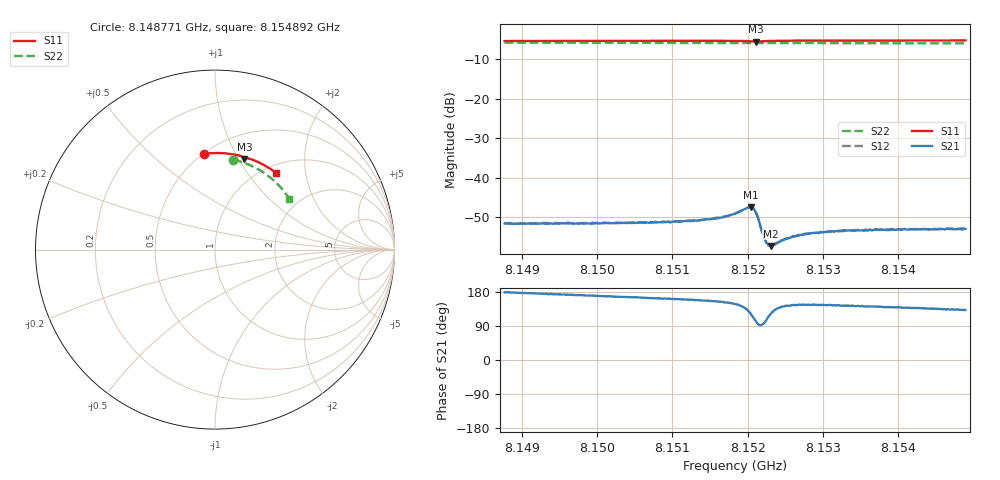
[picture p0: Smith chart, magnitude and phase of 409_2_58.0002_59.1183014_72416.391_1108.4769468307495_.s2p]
#  HZ  S  RI  R  50.00
! Rohde & Schwarz Vector Network Analyzer
! Rohde-Schwarz,ZNB20-2Port,1311601062101988,3.16
! Created: UTC 3/21/2024, 1:08:40 AM
! freq[Hz]  re:S11  im:S11  re:S21  im:S21  re:S12  im:S12  re:S22  im:S22
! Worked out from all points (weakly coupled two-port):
!   401 points, 8.148771 GHz to 8.154892 GHz, reference 50 ohm
!   highest |S21| = -47.45 dB at 8.152046 GHz (marker M1); lowest = -57.3 dB at 8.152306 GHz (marker M2)
!   lowest |S11| = -5.5 dB at 8.152107 GHz (marker M3), VSWR 3.24, Z = 37.9 + j52.8 ohm
!   |S11| at or under -10 dB: nowhere
!   |S22| runs from -6.0 to -5.8 dB; largest |S21 - S12| = 0.00012
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8.1487708e9  -0.0595 0.5332  -0.00263 7.15e-05  -0.00266 0.000109  0.1029 0.5009
8.1497961e9  0.0116 0.5383  -0.00261 0.000435  -0.0026 0.000479  0.1665 0.4822
8.1508215e9  0.083 0.5335  -0.00261 0.000811  -0.00263 0.000857  0.2266 0.4553
8.1513418e9  0.1193 0.5274  -0.00267 0.0011  -0.00265 0.00113  0.2556 0.4388
8.1515255e9  0.1322 0.5243  -0.00273 0.00125  -0.00273 0.0013  0.2654 0.4326
8.1516785e9  0.1432 0.5212  -0.00282 0.00147  -0.00284 0.00153  0.2736 0.4272
8.1518316e9  0.1545 0.5171  -0.00295 0.00185  -0.00296 0.00193  0.2817 0.4215
8.1519846e9  0.1653 0.5093  -0.00285 0.00294  -0.00282 0.00302  0.2895 0.4157
8.1520458e9  0.1668 0.5043  -0.00215 0.00366  -0.0021 0.0037  0.2925 0.4132
8.1520764e9  0.1659 0.5025  -0.0015 0.00378  -0.00146 0.00383  0.2939 0.412
8.152107e9  0.1643 0.5021  -0.000774 0.00357  -0.000759 0.00362  0.2954 0.411
8.1521376e9  0.1635 0.5035  -0.000274 0.00305  -0.000243 0.00311  0.2968 0.4098
8.1521989e9  0.1659 0.5073  -0.000154 0.00196  -8.04e-05 0.00199  0.2999 0.4078
8.1522295e9  0.1683 0.5086  -0.000283 0.00162  -0.000255 0.00163  0.3015 0.4067
8.1522754e9  0.1722 0.5093  -0.000569 0.00127  -0.000565 0.0013  0.3038 0.4049
8.152306e9  0.1749 0.5094  -0.000715 0.00116  -0.000675 0.00118  0.3053 0.4037
8.1523366e9  0.1775 0.5093  -0.000858 0.00109  -0.000857 0.00113  0.3069 0.4025
8.1525662e9  0.1951 0.5053  -0.0014 0.00105  -0.0014 0.00104  0.3182 0.3933
8.1528569e9  0.215 0.4982  -0.00165 0.00113  -0.00165 0.00115  0.3321 0.3809
8.1533314e9  0.2458 0.4849  -0.00173 0.00127  -0.00171 0.00129  0.3537 0.36
8.1538823e9  0.2796 0.4672  -0.00165 0.00142  -0.00169 0.00146  0.3768 0.3342
8.1548924e9  0.3377 0.4289  -0.00151 0.00168  -0.00149 0.00168  0.4143 0.2834
